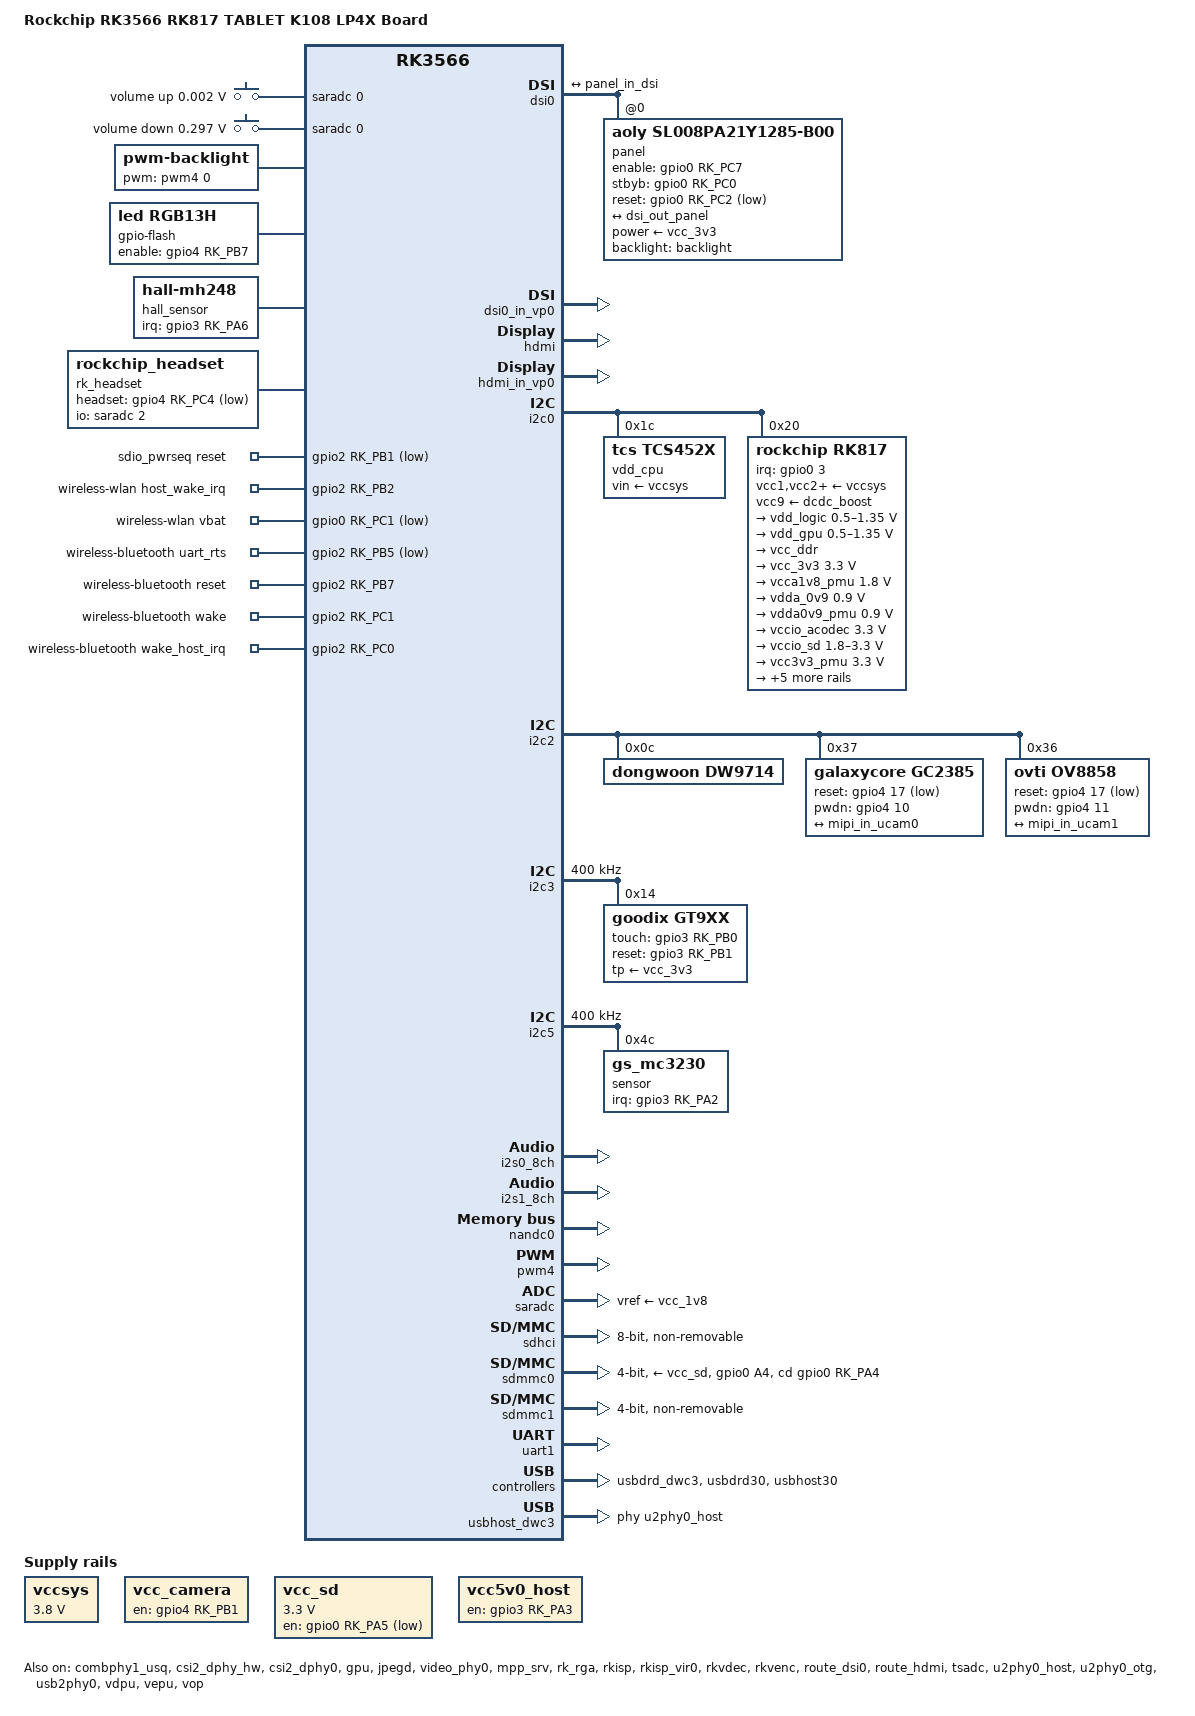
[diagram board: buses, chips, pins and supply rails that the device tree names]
// SPDX-License-Identifier: (GPL-2.0+ OR MIT)
/*
 * Copyright (c) 2020 Rockchip Electronics Co., Ltd.
 *
 */

/dts-v1/;

#include <dt-bindings/gpio/gpio.h>
#include <dt-bindings/pinctrl/rockchip.h>
#include <dt-bindings/input/rk-input.h>
#include <dt-bindings/sensor-dev.h>
#include <dt-bindings/display/drm_mipi_dsi.h>
#include "rk3566.dtsi"
#include "rk3568-android.dtsi"

/ {
	model = "Rockchip RK3566 RK817 TABLET K108 LP4X Board";
	compatible = "rockchip,rk3566-rk817-tablet-k108", "rockchip,rk3566";

	adc_keys: adc-keys {
		compatible = "adc-keys";
		io-channels = <&saradc 0>;
		io-channel-names = "buttons";
		keyup-threshold-microvolt = <1800000>;
		poll-interval = <100>;

		vol-up-key {
			label = "volume up";
			linux,code = <KEY_VOLUMEUP>;
			press-threshold-microvolt = <1750>;
		};

		vol-down-key {
			label = "volume down";
			linux,code = <KEY_VOLUMEDOWN>;
			press-threshold-microvolt = <297500>;
		};
	};

	backlight: backlight {
		compatible = "pwm-backlight";
		pwms = <&pwm4 0 25000 0>;
		brightness-levels = <
			  0  20  20  21  21  22  22  23
			 23  24  24  25  25  26  26  27
			 27  28  28  29  29  30  30  31
			 31  32  32  33  33  34  34  35
			 35  36  36  37  37  38  38  39
			 40  41  42  43  44  45  46  47
			 48  49  50  51  52  53  54  55
			 56  57  58  59  60  61  62  63
			 64  65  66  67  68  69  70  71
			 72  73  74  75  76  77  78  79
			 80  81  82  83  84  85  86  87
			 88  89  90  91  92  93  94  95
			 96  97  98  99 100 101 102 103
			104 105 106 107 108 109 110 111
			112 113 114 115 116 117 118 119
			120 121 122 123 124 125 126 127
			128 129 130 131 132 133 134 135
			136 137 138 139 140 141 142 143
			144 145 146 147 148 149 150 151
			152 153 154 155 156 157 158 159
			160 161 162 163 164 165 166 167
			168 169 170 171 172 173 174 175
			176 177 178 179 180 181 182 183
			184 185 186 187 188 189 190 191
			192 193 194 195 196 197 198 199
			200 201 202 203 204 205 206 207
			208 209 210 211 212 213 214 215
			216 217 218 219 220 221 222 223
			224 225 226 227 228 229 230 231
			232 233 234 235 236 237 238 239
			240 241 242 243 244 245 246 247
			248 249 250 251 252 253 254 255
		>;
		default-brightness-level = <200>;
	};

	charge-animation {
		compatible = "rockchip,uboot-charge";
		rockchip,uboot-charge-on = <1>;
		rockchip,android-charge-on = <0>;
		rockchip,uboot-low-power-voltage = <3350>;
		rockchip,screen-on-voltage = <3400>;
		status = "okay";
	};

	flash_rgb13h: flash-rgb13h {
		status = "okay";
		compatible = "led,rgb13h";
		label = "gpio-flash";
		pinctrl-names = "default";
		pinctrl-0 = <&flash_led_gpios>;
		led-max-microamp = <20000>;
		flash-max-microamp = <20000>;
		flash-max-timeout-us = <1000000>;
		enable-gpio = <&gpio4 RK_PB7 GPIO_ACTIVE_HIGH>;
		rockchip,camera-module-index = <0>;
		rockchip,camera-module-facing = "back";
	};

	hall_sensor: hall-mh248 {
		compatible = "hall-mh248";
		irq-gpio = <&gpio3 RK_PA6 IRQ_TYPE_EDGE_BOTH>;
		hall-active = <1>;
		status = "okay";
	};

	hdmi_sound: hdmi-sound {
		compatible = "simple-audio-card";
		simple-audio-card,format = "i2s";
		simple-audio-card,mclk-fs = <128>;
		simple-audio-card,name = "rockchip,hdmi";
		status = "okay";

		simple-audio-card,cpu {
				sound-dai = <&i2s0_8ch>;
		};
		simple-audio-card,codec {
				sound-dai = <&hdmi>;
		};
	};

	vccsys: vccsys {
		compatible = "regulator-fixed";
		regulator-name = "vcc3v8_sys";
		regulator-always-on;
		regulator-boot-on;
		regulator-min-microvolt = <3800000>;
		regulator-max-microvolt = <3800000>;
	};

	vcc_camera: vcc-camera-regulator {
		compatible = "regulator-fixed";
		gpio = <&gpio4 RK_PB1 GPIO_ACTIVE_HIGH>;
		pinctrl-names = "default";
		pinctrl-0 = <&camera_rst>;
		regulator-name = "vcc_camera";
		enable-active-high;
		regulator-always-on;
		regulator-boot-on;
	};

	rk817-sound {
		compatible = "simple-audio-card";
		simple-audio-card,format = "i2s";
		simple-audio-card,name = "rockchip,rk817-codec";
		simple-audio-card,mclk-fs = <256>;

		simple-audio-card,cpu {
			sound-dai = <&i2s1_8ch>;
		};
		simple-audio-card,codec {
			sound-dai = <&rk817_codec>;
		};
	};

	rk_headset: rk-headset {
		compatible = "rockchip_headset";
		headset_gpio = <&gpio4 RK_PC4 GPIO_ACTIVE_LOW>;
		pinctrl-names = "default";
		pinctrl-0 = <&hp_det>;
		io-channels = <&saradc 2>;
	};

	sdio_pwrseq: sdio-pwrseq {
		compatible = "mmc-pwrseq-simple";
		clocks = <&rk817 1>;
		clock-names = "ext_clock";
		pinctrl-names = "default";
		pinctrl-0 = <&wifi_enable_h>;

		/*
		 * On the module itself this is one of these (depending
		 * on the actual card populated):
		 * - SDIO_RESET_L_WL_REG_ON
		 * - PDN (power down when low)
		 */
		post-power-on-delay-ms = <200>;
		reset-gpios = <&gpio2 RK_PB1 GPIO_ACTIVE_LOW>;
	};

	vcc_sd: vcc-sd {
		compatible = "regulator-gpio";
		enable-active-low;
		enable-gpio = <&gpio0 RK_PA5 GPIO_ACTIVE_LOW>;
		regulator-min-microvolt = <3300000>;
		regulator-max-microvolt = <3300000>;
		pinctrl-names = "default";
		pinctrl-0 = <&vcc_sd_h>;
		regulator-name = "vcc_sd";
		states = <3300000 0x0
			3300000 0x1>;
	};

	vcc5v0_host: vcc5v0-host-regulator {
		compatible = "regulator-fixed";
		enable-active-high;
		gpio = <&gpio3 RK_PA3 GPIO_ACTIVE_HIGH>;
		pinctrl-names = "default";
		pinctrl-0 = <&vcc5v0_host_en>;
		regulator-name = "vcc5v0_host";
		regulator-always-on;
	};

	wireless-wlan {
		compatible = "wlan-platdata";
		rockchip,grf = <&grf>;
		wifi_chip_type = "rtl8723cs";
		pinctrl-names = "default";
		pinctrl-0 = <&wifi_host_wake_irq>;
		WIFI,host_wake_irq = <&gpio2 RK_PB2 GPIO_ACTIVE_HIGH>;
		WIFI,vbat_gpio = <&gpio0 RK_PC1 GPIO_ACTIVE_LOW>;
		status = "okay";
	};

	wireless-bluetooth {
		compatible = "bluetooth-platdata";
		clocks = <&rk817 1>;
		clock-names = "ext_clock";
		//wifi-bt-power-toggle;
		uart_rts_gpios = <&gpio2 RK_PB5 GPIO_ACTIVE_LOW>;
		pinctrl-names = "default", "rts_gpio";
		pinctrl-0 = <&uart1m0_rtsn>;
		pinctrl-1 = <&uart1_gpios>;
		BT,reset_gpio    = <&gpio2 RK_PB7 GPIO_ACTIVE_HIGH>;
		BT,wake_gpio     = <&gpio2 RK_PC1 GPIO_ACTIVE_HIGH>;
		BT,wake_host_irq = <&gpio2 RK_PC0 GPIO_ACTIVE_HIGH>;
		status = "okay";
	};
};

&combphy1_usq {
	rockchip,dis-u3otg1-port;
	status = "okay";
};

&cpu0 {
	cpu-supply = <&vdd_cpu>;
};

&csi2_dphy_hw {
	status = "okay";
};

&csi2_dphy0 {
	status = "okay";

	ports {
		#address-cells = <1>;
		#size-cells = <0>;
		port@0 {
			reg = <0>;
			#address-cells = <1>;
			#size-cells = <0>;

			mipi_in_ucam0: endpoint@0 {
				reg = <0>;
				remote-endpoint = <&gc2385_out>;
				data-lanes = <1>;
			};
			mipi_in_ucam1: endpoint@1 {
				reg = <1>;
				remote-endpoint = <&ov8858_out>;
				data-lanes = <1 2 3 4>;
			};
		};
		port@1 {
			reg = <1>;
			#address-cells = <1>;
			#size-cells = <0>;

			csidphy0_out: endpoint@0 {
				reg = <0>;
				remote-endpoint = <&isp0_in>;
			};
		};
	};
};

&dsi0 {
	status = "okay";
	rockchip,lane-rate = <1000>;
	panel@0 {
		compatible = "aoly,sl008pa21y1285-b00", "simple-panel-dsi";
		reg = <0>;

		backlight = <&backlight>;
		power-supply=<&vcc_3v3>;
		enable-gpios = <&gpio0 RK_PC7 GPIO_ACTIVE_HIGH>;
		stbyb-gpios = <&gpio0 RK_PC0 GPIO_ACTIVE_HIGH>;
		reset-gpios = <&gpio0 RK_PC2 GPIO_ACTIVE_LOW>;

		pinctrl-names = "default";
		pinctrl-0 = <&lcd_enable_gpio>, <&lcd_rst_gpio>, <&lcd_stanby_gpio>;

		prepare-delay-ms = <120>;
		reset-delay-ms = <120>;
		init-delay-ms = <120>;
		stbyb-delay-ms = <120>;
		enable-delay-ms = <120>;
		disable-delay-ms = <120>;
		unprepare-delay-ms = <120>;

		width-mm = <229>;
		height-mm = <143>;

		dsi,flags = <(MIPI_DSI_MODE_VIDEO | MIPI_DSI_MODE_VIDEO_BURST |
			      MIPI_DSI_MODE_LPM | MIPI_DSI_MODE_EOT_PACKET)>;
		dsi,format = <MIPI_DSI_FMT_RGB888>;
		dsi,lanes = <4>;

		panel-init-sequence = [
			29 00 04 FF 98 81 03
			23 00 02 01 00
			23 00 02 02 00
			23 00 02 03 73
			23 00 02 04 00
			23 00 02 05 00
			23 00 02 06 08
			23 00 02 07 00
			23 00 02 08 00
			23 00 02 09 00
			23 00 02 0A 01
			23 00 02 0B 01
			23 00 02 0C 00
			23 00 02 0D 01
			23 00 02 0E 01
			23 00 02 0F 00
			23 00 02 10 00
			23 00 02 11 00
			23 00 02 12 00
			23 00 02 13 1F
			23 00 02 14 1F
			23 00 02 15 00
			23 00 02 16 00
			23 00 02 17 00
			23 00 02 18 00
			23 00 02 19 00
			23 00 02 1A 00
			23 00 02 1B 00
			23 00 02 1C 00
			23 00 02 1D 00
			23 00 02 1E 40
			23 00 02 1F C0
			23 00 02 20 06
			23 00 02 21 01
			23 00 02 22 06
			23 00 02 23 01
			23 00 02 24 88
			23 00 02 25 88
			23 00 02 26 00
			23 00 02 27 00
			23 00 02 28 3B
			23 00 02 29 03
			23 00 02 2A 00
			23 00 02 2B 00
			23 00 02 2C 00
			23 00 02 2D 00
			23 00 02 2E 00
			23 00 02 2F 00
			23 00 02 30 00
			23 00 02 31 00
			23 00 02 32 00
			23 00 02 33 00
			23 00 02 34 00
			23 00 02 35 00
			23 00 02 36 00
			23 00 02 37 00
			23 00 02 38 00
			23 00 02 39 00
			23 00 02 3A 00
			23 00 02 3B 00
			23 00 02 3C 00
			23 00 02 3D 00
			23 00 02 3E 00
			23 00 02 3F 00
			23 00 02 40 00
			23 00 02 41 00
			23 00 02 42 00
			23 00 02 43 00
			23 00 02 44 00
			23 00 02 50 01
			23 00 02 51 23
			23 00 02 52 45
			23 00 02 53 67
			23 00 02 54 89
			23 00 02 55 AB
			23 00 02 56 01
			23 00 02 57 23
			23 00 02 58 45
			23 00 02 59 67
			23 00 02 5A 89
			23 00 02 5B AB
			23 00 02 5C CD
			23 00 02 5D EF
			23 00 02 5E 00
			23 00 02 5F 01
			23 00 02 60 01
			23 00 02 61 06
			23 00 02 62 06
			23 00 02 63 07
			23 00 02 64 07
			23 00 02 65 00
			23 00 02 66 00
			23 00 02 67 02
			23 00 02 68 02
			23 00 02 69 05
			23 00 02 6A 05
			23 00 02 6B 02
			23 00 02 6C 0D
			23 00 02 6D 0D
			23 00 02 6E 0C
			23 00 02 6F 0C
			23 00 02 70 0F
			23 00 02 71 0F
			23 00 02 72 0E
			23 00 02 73 0E
			23 00 02 74 02
			23 00 02 75 01
			23 00 02 76 01
			23 00 02 77 06
			23 00 02 78 06
			23 00 02 79 07
			23 00 02 7A 07
			23 00 02 7B 00
			23 00 02 7C 00
			23 00 02 7D 02
			23 00 02 7E 02
			23 00 02 7F 05
			23 00 02 80 05
			23 00 02 81 02
			23 00 02 82 0D
			23 00 02 83 0D
			23 00 02 84 0C
			23 00 02 85 0C
			23 00 02 86 0F
			23 00 02 87 0F
			23 00 02 88 0E
			23 00 02 89 0E
			23 00 02 8A 02
			29 00 04 FF 98 81 04
			23 00 02 6C 15
			23 00 02 6E 2A
			23 00 02 6F 33
			23 00 02 8D 1B
			23 00 02 87 BA
			23 00 02 3A 24
			23 00 02 26 76
			23 00 02 B2 D1
			29 00 04 FF 98 81 01
			23 00 02 22 0A
			23 00 02 31 00
			23 00 02 43 66
			23 00 02 53 40
			23 00 02 50 87
			23 00 02 51 82
			23 00 02 60 15
			23 00 02 61 01
			23 00 02 62 0C
			23 00 02 63 00
			29 00 04 FF 98 81 00
			23 00 02 35 00

			05 78 01 11
			05 dc 01 29
			//05 00 01 35
		];

		panel-exit-sequence = [
			05 dc 01 28
			05 78 01 10
		];

		display-timings {
			native-mode = <&timing0>;

			timing0: timing0 {
				clock-frequency = <160000000>;
				hactive = <1200>;
				vactive = <1920>;

				hsync-len = <1>;//19
				hback-porch = <60>;//40
				hfront-porch = <80>;//123

				vsync-len = <1>;
				vback-porch = <25>;
				vfront-porch = <35>;

				hsync-active = <0>;
				vsync-active = <0>;
				de-active = <0>;
				pixelclk-active = <1>;
			};
		};

		ports {
			#address-cells = <1>;
			#size-cells = <0>;

			port@0 {
				reg = <0>;
				panel_in_dsi: endpoint {
					remote-endpoint = <&dsi_out_panel>;
				};
			};
		};
	};

	ports {
		#address-cells = <1>;
		#size-cells = <0>;

		port@1 {
			reg = <1>;
			dsi_out_panel: endpoint {
				remote-endpoint = <&panel_in_dsi>;
			};
		};
	};

};

&dsi0_in_vp0 {
	status = "okay";
};

&dsi0_in_vp1 {
	status = "disabled";
};

&gpu {
	mali-supply = <&vdd_gpu>;
	status = "okay";
};

&hdmi {
	status = "okay";
};

&hdmi_in_vp0 {
	status = "okay";
};

&hdmi_in_vp1 {
	status = "disabled";
};

&hdmi_sound {
	status = "okay";
};

&i2c0 {
	status = "okay";

	vdd_cpu: tcs4525@1c {
		compatible = "tcs,tcs452x";
		reg = <0x1c>;
		vin-supply = <&vccsys>;
		regulator-compatible = "fan53555-reg";
		regulator-name = "vdd_cpu";
		regulator-min-microvolt = <712500>;
		regulator-max-microvolt = <1390000>;
		regulator-init-microvolt = <900000>;
		regulator-ramp-delay = <2300>;
		fcs,suspend-voltage-selector = <1>;
		regulator-boot-on;
		regulator-always-on;
		regulator-state-mem {
			regulator-off-in-suspend;
		};
	};

	rk817: pmic@20 {
		compatible = "rockchip,rk817";
		reg = <0x20>;
		interrupt-parent = <&gpio0>;
		interrupts = <3 IRQ_TYPE_LEVEL_LOW>;

		pinctrl-names = "default", "pmic-sleep",
				"pmic-power-off", "pmic-reset";
		pinctrl-0 = <&pmic_int>;
		pinctrl-1 = <&soc_slppin_slp>, <&rk817_slppin_slp>;
		pinctrl-2 = <&soc_slppin_gpio>, <&rk817_slppin_pwrdn>;
		pinctrl-3 = <&soc_slppin_gpio>, <&rk817_slppin_rst>;
		rockchip,system-power-controller;
		wakeup-source;
		#clock-cells = <1>;
		clock-output-names = "rk808-clkout1", "rk808-clkout2";
		//fb-inner-reg-idxs = <2>;
		/* 1: rst regs (default in codes), 0: rst the pmic */
		pmic-reset-func = <0>;

		vcc1-supply = <&vccsys>;
		vcc2-supply = <&vccsys>;
		vcc3-supply = <&vccsys>;
		vcc4-supply = <&vccsys>;
		vcc5-supply = <&vccsys>;
		vcc6-supply = <&vccsys>;
		vcc7-supply = <&vccsys>;
		vcc8-supply = <&vccsys>;
		vcc9-supply = <&dcdc_boost>;

		pwrkey {
			status = "okay";
		};

		pinctrl_rk8xx: pinctrl_rk8xx {
			gpio-controller;
			#gpio-cells = <2>;

			rk817_slppin_null: rk817_slppin_null {
				pins = "gpio_slp";
				function = "pin_fun0";
			};

			rk817_slppin_slp: rk817_slppin_slp {
				pins = "gpio_slp";
				function = "pin_fun1";
			};

			rk817_slppin_pwrdn: rk817_slppin_pwrdn {
				pins = "gpio_slp";
				function = "pin_fun2";
			};

			rk817_slppin_rst: rk817_slppin_rst {
				pins = "gpio_slp";
				function = "pin_fun3";
			};
		};

		regulators {
			vdd_logic: DCDC_REG1 {
				regulator-always-on;
				regulator-boot-on;
				regulator-min-microvolt = <500000>;
				regulator-max-microvolt = <1350000>;
				regulator-init-microvolt = <900000>;
				regulator-ramp-delay = <6001>;
				regulator-initial-mode = <0x2>;
				regulator-name = "vdd_logic";
				regulator-state-mem {
					regulator-off-in-suspend;
					regulator-suspend-microvolt = <900000>;
				};
			};

			vdd_gpu: DCDC_REG2 {
				regulator-always-on;
				regulator-boot-on;
				regulator-min-microvolt = <500000>;
				regulator-max-microvolt = <1350000>;
				regulator-init-microvolt = <900000>;
				regulator-ramp-delay = <6001>;
				regulator-initial-mode = <0x2>;
				regulator-name = "vdd_gpu";
				regulator-state-mem {
					regulator-off-in-suspend;
				};
			};

			vcc_ddr: DCDC_REG3 {
				regulator-always-on;
				regulator-boot-on;
				regulator-initial-mode = <0x2>;
				regulator-name = "vcc_ddr";
				regulator-state-mem {
					regulator-on-in-suspend;
				};
			};

			vcc_3v3: DCDC_REG4 {
				regulator-always-on;
				regulator-boot-on;
				regulator-min-microvolt = <3300000>;
				regulator-max-microvolt = <3300000>;
				regulator-initial-mode = <0x2>;
				regulator-name = "vcc_3v3";
				regulator-state-mem {
					regulator-off-in-suspend;
				};
			};

			vcca1v8_pmu: LDO_REG1 {
				regulator-always-on;
				regulator-boot-on;
				regulator-min-microvolt = <1800000>;
				regulator-max-microvolt = <1800000>;
				regulator-name = "vcca1v8_pmu";
				regulator-state-mem {
					regulator-on-in-suspend;
					regulator-suspend-microvolt = <1800000>;
				};
			};

			vdda_0v9: LDO_REG2 {
				regulator-always-on;
				regulator-boot-on;
				regulator-min-microvolt = <900000>;
				regulator-max-microvolt = <900000>;
				regulator-name = "vdda_0v9";
				regulator-state-mem {
					regulator-off-in-suspend;
				};
			};

			vdda0v9_pmu: LDO_REG3 {
				regulator-always-on;
				regulator-boot-on;
				regulator-min-microvolt = <900000>;
				regulator-max-microvolt = <900000>;
				regulator-name = "vdda0v9_pmu";
				regulator-state-mem {
					regulator-on-in-suspend;
					regulator-suspend-microvolt = <900000>;
				};
			};

			vccio_acodec: LDO_REG4 {
				regulator-always-on;
				regulator-boot-on;
				regulator-min-microvolt = <3300000>;
				regulator-max-microvolt = <3300000>;
				regulator-name = "vccio_acodec";
				regulator-state-mem {
					regulator-off-in-suspend;
				};
			};

			vccio_sd: LDO_REG5 {
				regulator-always-on;
				regulator-boot-on;
				regulator-min-microvolt = <1800000>;
				regulator-max-microvolt = <3300000>;
				regulator-name = "vccio_sd";
				regulator-state-mem {
					regulator-off-in-suspend;
				};
			};

			vcc3v3_pmu: LDO_REG6 {
				regulator-always-on;
				regulator-boot-on;
				regulator-min-microvolt = <3300000>;
				regulator-max-microvolt = <3300000>;
				regulator-name = "vcc3v3_pmu";
				regulator-state-mem {
					regulator-on-in-suspend;
					regulator-suspend-microvolt = <3000000>;
				};
			};

			vcc_1v8: LDO_REG7 {
				regulator-always-on;
				regulator-boot-on;
				regulator-min-microvolt = <1800000>;
				regulator-max-microvolt = <1800000>;
				regulator-name = "vcc_1v8";
				regulator-state-mem {
					regulator-off-in-suspend;
				};
			};

			vcc1v8_dvp: LDO_REG8 {
				regulator-always-on;
				regulator-boot-on;
				regulator-min-microvolt = <1800000>;
				regulator-max-microvolt = <1800000>;
				regulator-name = "vcc1v8_dvp";
				regulator-state-mem {
					regulator-off-in-suspend;
				};
			};

			vcc2v8_dvp: LDO_REG9 {
				regulator-always-on;
				regulator-boot-on;
				regulator-min-microvolt = <2800000>;
				regulator-max-microvolt = <2800000>;
				regulator-name = "vcc2v8_dvp";
				regulator-state-mem {
					regulator-off-in-suspend;
				};
			};

			dcdc_boost: BOOST {
				regulator-always-on;
				regulator-boot-on;
				regulator-min-microvolt = <4700000>;
				regulator-max-microvolt = <5400000>;
				regulator-name = "boost";
				regulator-state-mem {
					regulator-off-in-suspend;
				};
			};

			otg_switch: OTG_SWITCH {
				regulator-name = "otg_switch";
				regulator-state-mem {
					regulator-off-in-suspend;
				};
			};
		};

		battery {
			compatible = "rk817,battery";
			ocv_table = <3400 3513 3578 3687 3734 3752 3763
				     3766 3771 3784 3804 3836 3885 3925
				     3962 4005 4063 4114 4169 4227 4303>;
			design_capacity = <5000>;
			design_qmax = <5500>;
			bat_res = <100>;
			sleep_enter_current = <150>;
			sleep_exit_current = <180>;
			sleep_filter_current = <100>;
			power_off_thresd = <3450>;
			zero_algorithm_vol = <3850>;
			max_soc_offset = <60>;
			monitor_sec = <5>;
			sample_res = <10>;
			virtual_power = <0>;
		};

		charger {
			compatible = "rk817,charger";
			min_input_voltage = <4500>;
			max_input_current = <1500>;
			max_chrg_current = <2000>;
			max_chrg_voltage = <4300>;
			chrg_term_mode = <0>;
			chrg_finish_cur = <300>;
			virtual_power = <0>;
			dc_det_adc = <0>;
			extcon = <&usb2phy0>;
		};

		rk817_codec: codec {
			#sound-dai-cells = <0>;
			compatible = "rockchip,rk817-codec";
			clocks = <&cru I2S1_MCLKOUT>;
			clock-names = "mclk";
			assigned-clocks = <&cru I2S1_MCLKOUT>, <&cru I2S1_MCLK_TX_IOE>;
			assigned-clock-rates = <12288000>;
			assigned-clock-parents = <&cru I2S1_MCLKOUT_TX>, <&cru I2S1_MCLKOUT_TX>;
			pinctrl-names = "default";
			pinctrl-0 = <&i2s1m0_mclk>;
			hp-volume = <20>;
			spk-volume = <3>;
			out-l2spk-r2hp;
			spk-ctl-gpios = <&gpio0 RK_PA6 GPIO_ACTIVE_HIGH>;
			status = "okay";
		};
	};
};

&i2c2 {
	status = "okay";
	pinctrl-0 = <&i2c2m1_xfer>;

	dw9714: dw9714@c {
		compatible = "dongwoon,dw9714";
		status = "okay";
		reg = <0x0c>;
		rockchip,camera-module-index = <0>;
		rockchip,vcm-start-current = <10>;
		rockchip,vcm-rated-current = <85>;
		rockchip,vcm-step-mode = <5>;
		rockchip,camera-module-facing = "back";
	};

	gc2385: gc2385@37 {
		compatible = "galaxycore,gc2385";
		status = "okay";
		reg = <0x37>;
		clocks = <&cru CLK_CIF_OUT>;
		clock-names = "xvclk";
		power-domains = <&power RK3568_PD_VI>;
		pinctrl-names = "rockchip,camera_default";
		pinctrl-0 = <&cif_clk>;

		//reset pin control by hardware,used this pin switch to mipi input
		//1->2LANE(LANE 0&1) FRONT camera, 0->4LANE REAR camera
		reset-gpios = <&gpio4 17 GPIO_ACTIVE_LOW>;
		pwdn-gpios = <&gpio4 10 GPIO_ACTIVE_HIGH>;
		rockchip,camera-module-index = <1>;
		rockchip,camera-module-facing = "front";
		rockchip,camera-module-name = "HS5885-BNSM1018-V01";
		rockchip,camera-module-lens-name = "default";
		port {
			gc2385_out: endpoint {
				remote-endpoint = <&mipi_in_ucam0>;
				data-lanes = <1>;
			};
		};
	};

	ov8858: ov8858@36 {
		status = "okay";
		compatible = "ovti,ov8858";
		reg = <0x36>;
		clocks = <&cru CLK_CAM0_OUT>;
		clock-names = "xvclk";
		power-domains = <&power RK3568_PD_VI>;
		pinctrl-names = "rockchip,camera_default", "rockchip,camera_sleep";
		pinctrl-0 = <&cam_clkout0>;
		pinctrl-1 = <&cam_sleep>;
		//reset pin control by hardware,used this pin switch to mipi input
		//1->2LANE(LANE 0&1) FRONT camera, 0->4LANE REAR camera
		reset-gpios = <&gpio4 17 GPIO_ACTIVE_LOW>;
		pwdn-gpios = <&gpio4 11 GPIO_ACTIVE_HIGH>;
		rockchip,camera-module-index = <0>;
		rockchip,camera-module-facing = "back";
		rockchip,camera-module-name = "HS5885-BNSM1018-V01";
		rockchip,camera-module-lens-name = "default";
		flash-leds = <&flash_rgb13h>;
		lens-focus = <&dw9714>;
		port {
			ov8858_out: endpoint {
				remote-endpoint = <&mipi_in_ucam1>;
				data-lanes = <1 2 3 4>;
			};
		};
	};
};

&i2c3 {
	status = "okay";
	pinctrl-names = "default";
	pinctrl-0 = <&i2c3m1_xfer>;
	clock-frequency = <400000>;
	i2c-scl-rising-time-ns = <138>;
	i2c-scl-falling-time-ns = <4>;

	gt9xx: gt9xx@14 {
		compatible = "goodix,gt9xx";
		reg = <0x14>;
		pinctrl-names = "default";
		pinctrl-0 = <&gt9xx_gpio>;
		touch-gpio = <&gpio3 RK_PB0 IRQ_TYPE_LEVEL_HIGH>;
		reset-gpio = <&gpio3 RK_PB1 GPIO_ACTIVE_HIGH>;
		max-x = <1200>;
		max-y = <1920>;
		tp-size = <9110>;
		tp-supply = <&vcc_3v3>;
	};
};

&i2c5 {
	status = "okay";
	clock-frequency = <400000>;
	i2c-scl-rising-time-ns = <144>;
	i2c-scl-falling-time-ns = <4>;

	sensor@4c {
		compatible = "gs_mc3230";
		reg = <0x4c>;
		type = <SENSOR_TYPE_ACCEL>;
		irq_enable = <0>;
		poll_delay_ms = <30>;
		layout = <9>;
		reprobe_en = <1>;
		pinctrl-names = "default";
		pinctrl-0 = <&sensor_gpio>;
		irq-gpio = <&gpio3 RK_PA2 IRQ_TYPE_LEVEL_LOW>;
	};
};

&i2s0_8ch {
	status = "okay";
};

&i2s1_8ch {
	status = "okay";
	rockchip,clk-trcm = <1>;
	pinctrl-names = "default";
	pinctrl-0 = <&i2s1m0_sclktx
		     &i2s1m0_lrcktx
		     &i2s1m0_sdi0
		     &i2s1m0_sdo0>;
};

&jpegd {
	status = "okay";
};

&jpegd_mmu {
	status = "okay";
};

&video_phy0 {
	status = "okay";
};

&mpp_srv {
	status = "okay";
};

&nandc0 {
	status = "okay";
};

&pinctrl {
	cam {
		cam_clkout0: cam-clkout0 {
			rockchip,pins =
				/* cam_clkout0 */
				<4 RK_PA7 1 &pcfg_pull_none>;
		};

		cam_sleep: cam-sleep {
			rockchip,pins =
				/* cam_sleep */
				<4 RK_PA7 RK_FUNC_GPIO &pcfg_pull_none>;
		};

		camera_rst: camera-rst {
			rockchip,pins =
				/* front camera reset */
				<4 RK_PB0 RK_FUNC_GPIO &pcfg_pull_none>,
				/* back camra reset */
				<4 RK_PB1 RK_FUNC_GPIO &pcfg_pull_none>;
		};

		flash_led_gpios: flash-led {
			rockchip,pins =
				/* flash led enable */
				<4 RK_PB7 RK_FUNC_GPIO &pcfg_pull_none>;
		};
	};

	gt9xx {
		gt9xx_gpio: gt9xx-gpio {
			rockchip,pins = <3 RK_PB0 RK_FUNC_GPIO &pcfg_pull_up>,
					<3 RK_PB1 RK_FUNC_GPIO &pcfg_pull_none>;
		};
	};

	headphone {
		hp_det: hp-det {
			rockchip,pins = <4 RK_PC4 RK_FUNC_GPIO &pcfg_pull_down>;
		};
	};

	lcd {
		lcd_rst_gpio: lcd-rst-gpio {
			rockchip,pins = <0 RK_PC2 RK_FUNC_GPIO &pcfg_pull_none>;
		};

		lcd_enable_gpio: lcd-enable-gpio {
			rockchip,pins = <0 RK_PC7 RK_FUNC_GPIO &pcfg_pull_none>;
		};

		lcd_stanby_gpio: lcd-stanby-gpio {
			rockchip,pins = <0 RK_PC0 RK_FUNC_GPIO &pcfg_pull_down>;
		};
	};

	pmic {
		pmic_int: pmic_int {
			rockchip,pins =
				<0 RK_PA3 RK_FUNC_GPIO &pcfg_pull_up>;
		};

		soc_slppin_gpio: soc_slppin_gpio {
			rockchip,pins =
				<0 RK_PA2 RK_FUNC_GPIO &pcfg_output_low>;
		};

		soc_slppin_slp: soc_slppin_slp {
			rockchip,pins =
				<0 RK_PA2 1 &pcfg_pull_none>;
		};

		soc_slppin_rst: soc_slppin_rst {
			rockchip,pins =
				<0 RK_PA2 2 &pcfg_pull_none>;
		};
	};

	sensor {
		sensor_gpio: sensor-gpio {
			rockchip,pins = <3 RK_PA2 RK_FUNC_GPIO &pcfg_pull_none>;
		};
	};

	sdio-pwrseq {
		wifi_enable_h: wifi-enable-h {
			rockchip,pins = <2 RK_PB1 RK_FUNC_GPIO &pcfg_pull_none>;
		};
	};

	vcc_sd {
		vcc_sd_h: vcc-sd-h {
			rockchip,pins = <0 RK_PA5 RK_FUNC_GPIO &pcfg_pull_none>;
		};
	};

	sdmmc0 {
		sdmmc0_det_gpio: sdmmc0-det-gpio {
			rockchip,pins = <0 RK_PA4 RK_FUNC_GPIO &pcfg_pull_up>;
		};
	};

	usb {
		vcc5v0_host_en: vcc5v0-host-en {
			rockchip,pins = <3 RK_PA3 RK_FUNC_GPIO &pcfg_pull_none>;
		};
	};

	wireless-wlan {
		wifi_host_wake_irq: wifi-host-wake-irq {
			rockchip,pins = <2 RK_PB2 RK_FUNC_GPIO &pcfg_pull_down>;
		};
	};

	wireless-bluetooth {
		uart1_gpios: uart1-gpios {
			rockchip,pins = <2 RK_PB5 RK_FUNC_GPIO &pcfg_pull_none>;
		};
	};
};

&pmu_io_domains {
	status = "okay";
	pmuio1-supply = <&vcc3v3_pmu>;
	pmuio2-supply = <&vcc3v3_pmu>;
	vccio1-supply = <&vccio_acodec>;
	vccio3-supply = <&vccio_sd>;
	vccio4-supply = <&vcc3v3_pmu>;
	vccio5-supply = <&vcc_1v8>;
	vccio6-supply = <&vcc1v8_dvp>;
	vccio7-supply = <&vcc_3v3>;
};

&pwm4 {
	status = "okay";
};

&rk_rga {
	status = "okay";
};

&rkisp {
	status = "okay";
};

&rkisp_mmu {
	status = "okay";
};

&rkisp_vir0 {
	status = "okay";

	port {
		#address-cells = <1>;
		#size-cells = <0>;

		isp0_in: endpoint@0 {
			reg = <0>;
			remote-endpoint = <&csidphy0_out>;
		};
	};
};

&rkvdec {
	status = "okay";
};

&rkvdec_mmu {
	status = "okay";
};

&rkvenc {
	status = "okay";
};

&rkvenc_mmu {
	status = "okay";
};

&route_dsi0 {
	status = "okay";
};

&route_hdmi {
	status = "okay";
	connect = <&vp0_out_hdmi>;
};

&saradc {
	status = "okay";
	vref-supply = <&vcc_1v8>;
};

&sdhci {
	bus-width = <8>;
	no-sdio;
	no-sd;
	non-removable;
	max-frequency = <200000000>;
	status = "okay";
};

&sdmmc0 {
	max-frequency = <150000000>;
	no-sdio;
	no-mmc;
	bus-width = <4>;
	cap-mmc-highspeed;
	cap-sd-highspeed;
	disable-wp;
	sd-uhs-sdr104;
	vmmc-supply = <&vcc_sd>;
	vqmmc-supply = <&vccio_sd>;
	cd-gpios = <&gpio0 RK_PA4 GPIO_ACTIVE_HIGH>;
	pinctrl-names = "default";
	pinctrl-0 = <&sdmmc0_bus4 &sdmmc0_clk &sdmmc0_cmd &sdmmc0_det_gpio>;
	status = "okay";
};

&sdmmc1 {
	max-frequency = <150000000>;
	no-sd;
	no-mmc;
	bus-width = <4>;
	disable-wp;
	cap-sd-highspeed;
	cap-sdio-irq;
	keep-power-in-suspend;
	mmc-pwrseq = <&sdio_pwrseq>;
	non-removable;
	pinctrl-names = "default";
	pinctrl-0 = <&sdmmc1_bus4 &sdmmc1_cmd &sdmmc1_clk>;
	sd-uhs-sdr104;
	rockchip,default-sample-phase = <90>;
	status = "okay";
};

&tsadc {
	status = "okay";
};

&uart1 {
	status = "okay";
	pinctrl-names = "default";
	pinctrl-0 = <&uart1m0_xfer &uart1m0_ctsn>;
};

&u2phy0_host {
	phy-supply = <&vcc5v0_host>;
	status = "okay";
};

&u2phy0_otg {
	status = "okay";
};

&usb2phy0 {
	status = "okay";
};

&usbdrd_dwc3 {
	status = "okay";
};

&usbdrd30 {
	status = "okay";
};

&usbhost30 {
	status = "okay";
};

&usbhost_dwc3 {
	phys = <&u2phy0_host>;
	phy-names = "usb2-phy";
	maximum-speed = "high-speed";
	status = "okay";
};

&vdpu {
	status = "okay";
};

&vdpu_mmu {
	status = "okay";
};

&vepu {
	status = "okay";
};

&vepu_mmu {
	status = "okay";
};

&vop {
	status = "okay";
};

&vop_mmu {
	status = "okay";
};
